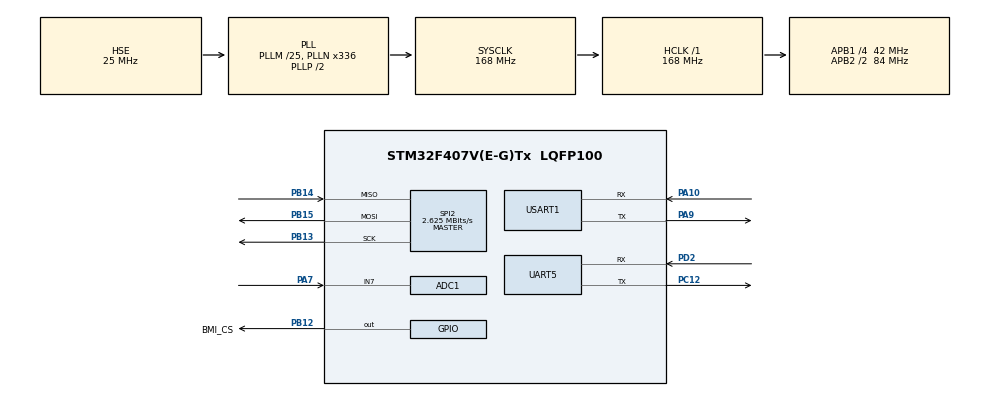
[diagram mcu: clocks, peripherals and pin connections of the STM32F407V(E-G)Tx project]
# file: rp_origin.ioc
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ADC1.Channel-1\#ChannelRegularConversion=ADC_CHANNEL_7
ADC1.ContinuousConvMode=DISABLE
ADC1.DMAContinuousRequests=ENABLE
ADC1.ExternalTrigConv=ADC_EXTERNALTRIGCONV_T3_TRGO
ADC1.InjNumberOfConversion=0
ADC1.NbrOfConversionFlag=1
ADC1.Rank-1\#ChannelRegularConversion=1
ADC1.Resolution=ADC_RESOLUTION_12B
ADC1.SamplingTime-1\#ChannelRegularConversion=ADC_SAMPLETIME_480CYCLES
ADC1.ScanConvMode=DISABLE
ADC1.master=1
Dma.ADC1.0.Direction=DMA_PERIPH_TO_MEMORY
Dma.ADC1.0.FIFOMode=DMA_FIFOMODE_DISABLE
Dma.ADC1.0.Instance=DMA2_Stream0
Dma.ADC1.0.MemDataAlignment=DMA_MDATAALIGN_WORD
Dma.ADC1.0.MemInc=DMA_MINC_ENABLE
Dma.ADC1.0.Mode=DMA_CIRCULAR
Dma.ADC1.0.PeriphDataAlignment=DMA_PDATAALIGN_WORD
Dma.ADC1.0.PeriphInc=DMA_PINC_DISABLE
Dma.ADC1.0.Priority=DMA_PRIORITY_LOW
Dma.Request0=ADC1
Dma.Request1=USART1_RX
Dma.Request2=USART1_TX
Dma.USART1_RX.1.Direction=DMA_PERIPH_TO_MEMORY
Dma.USART1_RX.1.FIFOMode=DMA_FIFOMODE_DISABLE
Dma.USART1_RX.1.Instance=DMA2_Stream2
Dma.USART1_RX.1.MemDataAlignment=DMA_MDATAALIGN_BYTE
Dma.USART1_RX.1.MemInc=DMA_MINC_ENABLE
Dma.USART1_RX.1.Mode=DMA_CIRCULAR
Dma.USART1_RX.1.PeriphDataAlignment=DMA_PDATAALIGN_BYTE
Dma.USART1_RX.1.PeriphInc=DMA_PINC_DISABLE
Dma.USART1_RX.1.Priority=DMA_PRIORITY_LOW
Dma.USART1_TX.2.Direction=DMA_MEMORY_TO_PERIPH
Dma.USART1_TX.2.FIFOMode=DMA_FIFOMODE_DISABLE
Dma.USART1_TX.2.Instance=DMA2_Stream7
Dma.USART1_TX.2.MemDataAlignment=DMA_MDATAALIGN_BYTE
Dma.USART1_TX.2.MemInc=DMA_MINC_ENABLE
Dma.USART1_TX.2.Mode=DMA_NORMAL
Dma.USART1_TX.2.PeriphDataAlignment=DMA_PDATAALIGN_BYTE
Dma.USART1_TX.2.PeriphInc=DMA_PINC_DISABLE
Dma.USART1_TX.2.Priority=DMA_PRIORITY_LOW
Mcu.Family=STM32F4
Mcu.Name=STM32F407V(E-G)Tx
Mcu.Package=LQFP100
NVIC.ADC_IRQn=true\:0\:0\:false\:false\:true\:true\:true
NVIC.DMA2_Stream0_IRQn=true\:0\:0\:false\:false\:true\:false\:true
NVIC.DMA2_Stream2_IRQn=true\:0\:0\:false\:false\:true\:false\:true
NVIC.DMA2_Stream7_IRQn=true\:0\:0\:false\:false\:true\:false\:true
NVIC.PriorityGroup=NVIC_PRIORITYGROUP_4
NVIC.TIM2_IRQn=true\:0\:0\:false\:false\:true\:false\:true
NVIC.TIM4_IRQn=true\:1\:0\:true\:false\:true\:true\:true
NVIC.TimeBase=TIM2_IRQn
NVIC.TimeBaseIP=TIM2
PA10.Mode=Asynchronous
PA10.Signal=USART1_RX
PA13.Mode=Serial_Wire
PA13.Signal=SYS_JTMS-SWDIO
PA14.Mode=Serial_Wire
PA14.Signal=SYS_JTCK-SWCLK
PA7.Signal=ADCx_IN7
PA9.Mode=Asynchronous
PA9.Signal=USART1_TX
PB12.GPIO_Label=BMI_CS
PB12.GPIO_PuPd=GPIO_PULLUP
PB12.GPIO_Speed=GPIO_SPEED_FREQ_HIGH
PB12.Signal=GPIO_Output
PB13.Mode=Full_Duplex_Master
PB13.Signal=SPI2_SCK
PB14.Mode=Full_Duplex_Master
PB14.Signal=SPI2_MISO
PB15.Mode=Full_Duplex_Master
PB15.Signal=SPI2_MOSI
PC12.Mode=Asynchronous
PC12.Signal=UART5_TX
PD2.Mode=Asynchronous
PD2.Signal=UART5_RX
PH0-OSC_IN.Mode=HSE-External-Oscillator
PH0-OSC_IN.Signal=RCC_OSC_IN
PH1-OSC_OUT.Mode=HSE-External-Oscillator
PH1-OSC_OUT.Signal=RCC_OSC_OUT
ProjectManager.HeapSize=0x1000
ProjectManager.StackSize=0x1000
ProjectManager.TargetToolchain=MDK-ARM V5.27
RCC.48MHZClocksFreq_Value=84000000
RCC.AHBFreq_Value=168000000
RCC.APB1CLKDivider=RCC_HCLK_DIV4
RCC.APB1Freq_Value=42000000
RCC.APB1TimFreq_Value=84000000
RCC.APB2CLKDivider=RCC_HCLK_DIV2
RCC.APB2Freq_Value=84000000
RCC.APB2TimFreq_Value=168000000
RCC.CortexFreq_Value=168000000
RCC.HCLKFreq_Value=168000000
RCC.HSE_VALUE=25000000
RCC.HSI_VALUE=16000000
RCC.LSE_VALUE=32768
RCC.PLLM=25
RCC.PLLN=336
RCC.PLLSourceVirtual=RCC_PLLSOURCE_HSE
RCC.SYSCLKFreq_VALUE=168000000
RCC.SYSCLKSource=RCC_SYSCLKSOURCE_PLLCLK
RCC.VCOOutputFreq_Value=336000000
SH.ADCx_IN7.0=ADC1_IN7,IN7
SPI2.BaudRatePrescaler=SPI_BAUDRATEPRESCALER_16
SPI2.CalculateBaudRate=2.625 MBits/s
SPI2.Direction=SPI_DIRECTION_2LINES
SPI2.Mode=SPI_MODE_MASTER
SPI2.VirtualType=VM_MASTER
TIM3.AutoReloadPreload=TIM_AUTORELOAD_PRELOAD_ENABLE
TIM3.Period=100-1
TIM3.Prescaler=84-1
TIM3.TIM_MasterOutputTrigger=TIM_TRGO_UPDATE
TIM4.AutoReloadPreload=TIM_AUTORELOAD_PRELOAD_ENABLE
TIM4.Period=6000 -1
TIM4.Prescaler=8400-1
UART5.VirtualMode=Asynchronous
USART1.VirtualMode=VM_ASYNC
VP_SYS_VS_tim2.Mode=TIM2
VP_TIM3_VS_ClockSourceINT.Mode=Internal
VP_TIM4_VS_ClockSourceINT.Mode=Internal
board=custom

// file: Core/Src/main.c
/* USER CODE BEGIN Header */
/**
  ******************************************************************************
  * @file           : main.c
  * @brief          : Main program body
  ******************************************************************************
  * @attention
  *
  * <h2><center>&copy; Copyright (c) 2022 STMicroelectronics.
  * All rights reserved.</center></h2>
  *
  * This software component is licensed by ST under BSD 3-Clause license,
  * the "License"; You may not use this file except in compliance with the
  * License. You may obtain a copy of the License at:
  *                        opensource.org/licenses/BSD-3-Clause
  *
  ******************************************************************************
  */
/* USER CODE END Header */
#include "main.h"
#include "adc.h"
#include "dma.h"
#include "spi.h"
#include "tim.h"
#include "usart.h"
#include "gpio.h"

/* USER CODE BEGIN Includes */
#include "arm_math.h"
#include "stdio.h"

/* USER CODE END Includes */

void SystemClock_Config(void);

/* USER CODE BEGIN 0 */
uint16_t get;

typedef struct high_pass{

	float out;
	float out_pre;

	float in;
	float in_pre;

	float a;
}high_pass_t;
high_pass_t pass;

float out_adc;

#define FFT_LENGTH 1024
//float fft_inputbuf[FFT_LENGTH*2]; //FFT 输入数组
//float fft_outputbuf[FFT_LENGTH]; //FFT 输出数组

#define LEN 256
uint32_t adc_input[LEN];

//float fft_inputbuf2[FFT_LENGTH*2]; //FFT 输入数组
//float fft_outputbuf2[FFT_LENGTH]; //FFT 输出数组

uint32_t time1,time2,time_f;

typedef struct time_c{

	uint32_t time1;
	uint32_t time2;
	uint32_t time_f;

}time_t;

uint32_t us(void)
{

	return TIM2->CNT+HAL_GetTick()*1000;

}

int fputc(int ch, FILE *f)

{

  HAL_UART_Transmit(&huart5, (uint8_t *)&ch, 1, 0xffff);

  return ch;

}

uint16_t adc_flag = 0;
void Get_Adc(void)
{

	HAL_ADC_PollForConversion(&hadc1,10);

	get = HAL_ADC_GetValue(&hadc1);

}

char adc_f = 0;
void HAL_ADC_ConvCpltCallback(ADC_HandleTypeDef* hadc)
{
	time2 = time1;
	time1 = TIM2->CNT+HAL_GetTick()*1000;

	time_f = time1-time2;

	adc_f = 1;

	HAL_ADC_Stop_DMA(&hadc1);

}

time_t time_p;
/* USER CODE END 0 */

int main(void)
{
  /* USER CODE BEGIN 1 */
	arm_cfft_radix4_instance_f32 scfft;
	float s=0.001;
	uint8_t d = 1;

  /* USER CODE END 1 */

  /* MCU Configuration--------------------------------------------------------*/

  /* Reset of all peripherals, Initializes the Flash interface and the Systick. */
  HAL_Init();

  /* Configure the system clock */
  SystemClock_Config();

  /* Initialize all configured peripherals */
  MX_GPIO_Init();
  MX_DMA_Init();
  MX_SPI2_Init();
  MX_TIM4_Init();
  MX_ADC1_Init();
  MX_USART1_UART_Init();
  MX_UART5_Init();
  MX_TIM3_Init();
  /* USER CODE BEGIN 2 */
	HAL_ADC_Start(&hadc1);
	HAL_ADC_Start_DMA(&hadc1,adc_input,LEN);

	arm_cfft_radix4_init_f32(&scfft,2,0,1);

	adc_flag = 0;
  /* USER CODE END 2 */

  /* Infinite loop */
  /* USER CODE BEGIN WHILE */
  while (1)
  {

		if(adc_f == 1)
		{
			time_p.time1 = HAL_GetTick();
			for(uint16_t i = 0; i < LEN; i++){

				s = adc_input[i];
				printf("%f\n",s);

			}
			printf("00\n");

			time_p.time_f = HAL_GetTick() - time_p.time1;;

			adc_f = 0;
			HAL_ADC_Start_DMA(&hadc1,adc_input,LEN);

		}

//		time1 = TIM2->CNT+HAL_GetTick()*1000;
//
//		HAL_ADC_PollForConversion(&hadc1,10);
//		get = HAL_ADC_GetValue(&hadc1);

//		fft_inputbuf[2*adc_flag] = get;
//		fft_inputbuf[2*adc_flag + 1] = 0;

//		adc_flag++;

//		while(TIM2->CNT+HAL_GetTick()*1000 - time1 < 100);
//		s = get;
//		printf("%f\n",s);
//		if(adc_flag == FFT_LENGTH){
//
//			for(uint16_t i = 0; i < FFT_LENGTH; i++){
//
//				s = fft_inputbuf[2*i];
//				printf("%f\n",s);
//
//			}
//			adc_flag = 0;
//		}

//		HAL_UART_Transmit(&huart5, &d, 1, 0xffff);

//		time1 = TIM2->CNT+HAL_GetTick()*1000;
//
////		HAL_ADC_PollForConversion(&hadc1,10);
////		get = HAL_ADC_GetValue(&hadc1);
//		printf("%f\n",s);
//
//		time2 = TIM2->CNT+HAL_GetTick()*1000;
//		time_f = time2 - time1;

//		pass.in_pre = pass.in;
//
//		pass.in = get;
//
//		pass.out_pre = pass.out;
//
//		pass.out = pass.a*(pass.in - pass.in_pre) + pass.a * pass.out_pre;
//
//		out_adc = pass.out;

//		for(int i=0;i<FFT_LENGTH;i++)//生成信号序列
//		{
//			fft_inputbuf[2*i]=100+
//				10*arm_sin_f32(2*PI*i/FFT_LENGTH)+
//				30*arm_sin_f32(2*PI*i*4/FFT_LENGTH)+
//				50*arm_cos_f32(2*PI*i*8/FFT_LENGTH); //实部
//
//			fft_inputbuf[2*i+1]=0;//虚部全部为 0
//		}

//		for(int i=0;i<FFT_LENGTH;i++)//生成信号序列
//		{
//			fft_inputbuf2[2*i]=100+
//				10*arm_sin_f32(2*PI*i/FFT_LENGTH)+
//				30*arm_sin_f32(2*PI*i*4/FFT_LENGTH)+
//				50*arm_cos_f32(2*PI*i*8/FFT_LENGTH); //实部
//
//			fft_inputbuf2[2*i+1]=0;//虚部全部为 0
//		}

//		time1 = TIM2->CNT+HAL_GetTick()*1000;
//
//		arm_cfft_radix4_f32(&scfft,fft_inputbuf);
//		arm_cmplx_mag_f32(fft_inputbuf,fft_outputbuf,FFT_LENGTH);

////		arm_cfft_radix4_f32(&scfft,fft_inputbuf2);
////		arm_cmplx_mag_f32(fft_inputbuf2,fft_outputbuf2,FFT_LENGTH);
//
//		time2 = TIM2->CNT+HAL_GetTick()*1000;
//		time_f = time2 - time1;

    /* USER CODE END WHILE */

  }
}

void SystemClock_Config(void)
{
  RCC_OscInitTypeDef RCC_OscInitStruct = {0};
  RCC_ClkInitTypeDef RCC_ClkInitStruct = {0};

  /** Configure the main internal regulator output voltage
  */
  __HAL_RCC_PWR_CLK_ENABLE();
  __HAL_PWR_VOLTAGESCALING_CONFIG(PWR_REGULATOR_VOLTAGE_SCALE1);
  /** Initializes the RCC Oscillators according to the specified parameters
  * in the RCC_OscInitTypeDef structure.
  */
  RCC_OscInitStruct.OscillatorType = RCC_OSCILLATORTYPE_HSE;
  RCC_OscInitStruct.HSEState = RCC_HSE_ON;
  RCC_OscInitStruct.PLL.PLLState = RCC_PLL_ON;
  RCC_OscInitStruct.PLL.PLLSource = RCC_PLLSOURCE_HSE;
  RCC_OscInitStruct.PLL.PLLM = 25;
  RCC_OscInitStruct.PLL.PLLN = 336;
  RCC_OscInitStruct.PLL.PLLP = RCC_PLLP_DIV2;
  RCC_OscInitStruct.PLL.PLLQ = 4;
  if (HAL_RCC_OscConfig(&RCC_OscInitStruct) != HAL_OK)
  {
    Error_Handler();
  }
  /** Initializes the CPU, AHB and APB buses clocks
  */
  RCC_ClkInitStruct.ClockType = RCC_CLOCKTYPE_HCLK|RCC_CLOCKTYPE_SYSCLK
                              |RCC_CLOCKTYPE_PCLK1|RCC_CLOCKTYPE_PCLK2;
  RCC_ClkInitStruct.SYSCLKSource = RCC_SYSCLKSOURCE_PLLCLK;
  RCC_ClkInitStruct.AHBCLKDivider = RCC_SYSCLK_DIV1;
  RCC_ClkInitStruct.APB1CLKDivider = RCC_HCLK_DIV4;
  RCC_ClkInitStruct.APB2CLKDivider = RCC_HCLK_DIV2;

  if (HAL_RCC_ClockConfig(&RCC_ClkInitStruct, FLASH_LATENCY_5) != HAL_OK)
  {
    Error_Handler();
  }
}

 /**
  * @brief  Period elapsed callback in non blocking mode
  * @note   This function is called  when TIM2 interrupt took place, inside
  * HAL_TIM_IRQHandler(). It makes a direct call to HAL_IncTick() to increment
  * a global variable "uwTick" used as application time base.
  * @param  htim : TIM handle
  * @retval None
  */
void HAL_TIM_PeriodElapsedCallback(TIM_HandleTypeDef *htim)
{
  if (htim->Instance == TIM2) {
    HAL_IncTick();
  }
}

void Error_Handler(void)
{
  __disable_irq();
  while (1)
  {
  }
}

/************************ (C) COPYRIGHT STMicroelectronics *****END OF FILE****/
